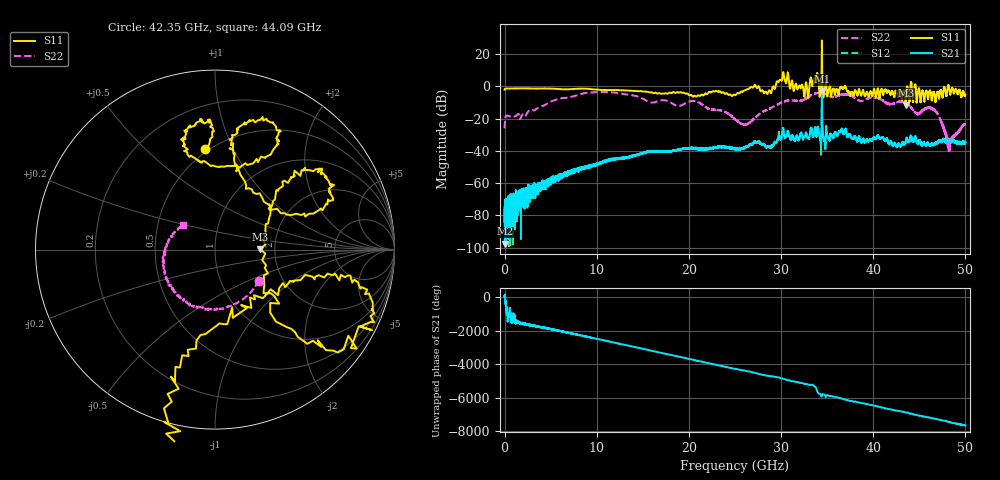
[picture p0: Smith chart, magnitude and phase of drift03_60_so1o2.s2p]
!Created with skrf (http://scikit-rf.org).
# Hz S RI R 50.0
!freq ReS11 ImS11 ReS21 ImS21 ReS12 ImS12 ReS22 ImS22
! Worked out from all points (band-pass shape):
!   10000 points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, 5.3 MHz to 50 GHz, reference 50 ohm
!   highest |S21| = -3.02 dB at 34.43 GHz (marker M1); lowest = -97.5 dB at 35.3 MHz (marker M2)
!   |S21| within 3 dB of the highest: 34.42727 GHz to 34.43453 GHz (7.253 MHz wide, 0.0211 % of centre)
!   lowest |S11| = -11.9 dB at 43.52 GHz (marker M3), VSWR 1.68, Z = 83.9 + j0.34 ohm
!   |S11| at or under -10 dB: 43.49011 GHz to 43.54382 GHz (53.71 MHz wide, 0.123 % of centre); 43.54724 GHz to 43.55144 GHz (4.199 MHz wide, 0.00964 % of centre); 44.70375 GHz to 44.70794 GHz (4.187 MHz wide, 0.00937 % of centre)
!   |S22| runs from -40.1 to -3.6 dB; largest |S21 - S12| = 0.22
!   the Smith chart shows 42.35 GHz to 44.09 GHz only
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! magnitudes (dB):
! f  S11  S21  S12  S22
! 5.3 MHz  -2.1  -74.6  -76.4  -26.0
! 35.3 MHz  -1.7  -97.5  -80.9  -22.1
! 325.3 MHz  -1.4  -80.4  -80.1  -18.2
! 8.34 GHz  -1.5  -50.3  -50.8  -4.7
! 16.67 GHz  -4.4  -40.0  -40.2  -9.2
! 20.72 GHz  -6.2  -38.4  -38.1  -9.3
! 25.01 GHz  -5.5  -38.9  -38.9  -20.3
! 26.22 GHz  -2.2  -37.3  -37.3  -23.7
! 27.37 GHz  -1.1  -35.0  -35.0  -18.5
! 28.72 GHz  -2.5  -37.5  -37.7  -14.1
! 30.14 GHz  4.4  -29.5  -29.6  -9.9
! 32.74 GHz  2.0  -29.5  -29.1  -7.4
! 33.34 GHz  2.6  -27.5  -27.7  -5.2
! 33.82 GHz  4.0  -29.2  -29.5  -4.3
! 34.43 GHz  28.4  -3.0  -5.0  -4.0
! 36.48 GHz  -0.5  -28.0  -27.9  -5.4
! 41.67 GHz  -2.9  -35.4  -35.5  -11.0
! 43.52 GHz  -11.9  -34.5  -34.6  -10.4
! 44.78 GHz  -7.2  -35.3  -35.0  -17.3
! 46.68 GHz  -6.1  -35.3  -35.8  -14.9
! 48.22 GHz  -0.2  -33.0  -33.1  -36.4
! 50 GHz  -5.2  -34.3  -35.1  -23.4
